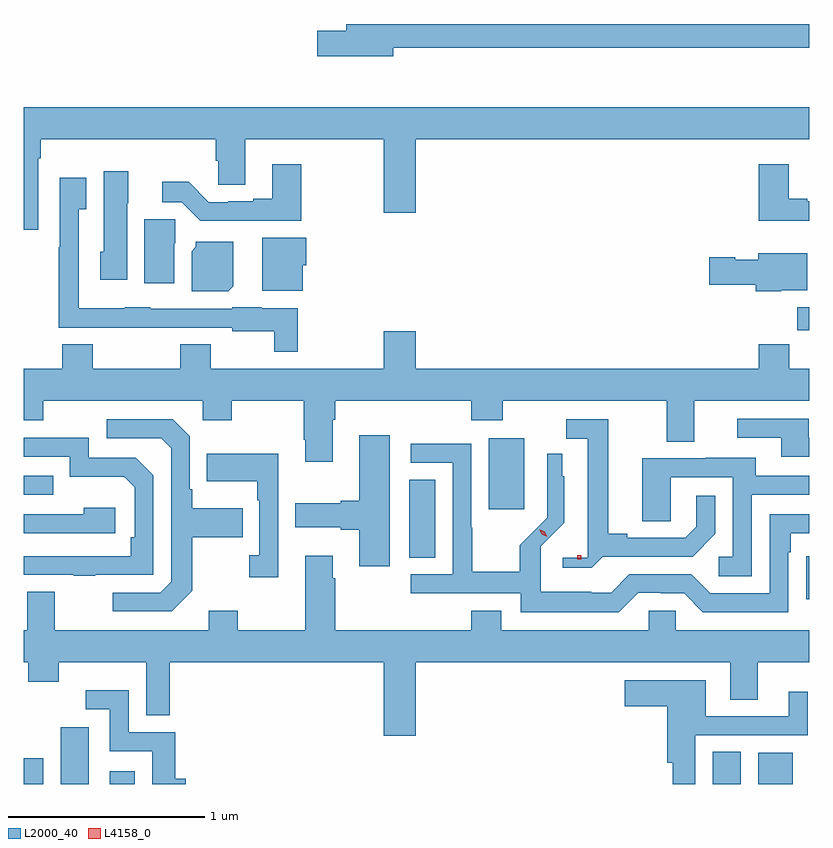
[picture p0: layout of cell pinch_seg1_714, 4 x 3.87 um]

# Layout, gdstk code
import gdstk
lib = gdstk.Library(unit=1e-6, precision=1e-09)
def R(c, l, rs):  # rectangles x0, y0, x1, y1
    for r in rs: c.add(gdstk.rectangle(r[:2], r[2:], *l))
def P(c, l, *ps):  # polygons
    for p in ps: c.add(gdstk.Polygon(p, *l))
L2000_40 = (2000, 40)
L4158_0 = (4158, 0)

pinch_seg1_714 = lib.new_cell('pinch_seg1_714')
R(pinch_seg1_714, L2000_40, [(654.684,540.456,654.784,540.588), (654.872,540.456,655.015,540.745), (655.122,540.456,655.249,540.52), (658.193,540.456,658.336,540.62), (658.424,540.456,658.6,540.616), (658.669,541.398,658.684,541.616), (656.648,541.609,656.779,542.006), (657.053,541.856,657.232,542.218), (654.684,541.929,654.833,542.025), (658.624,542.766,658.684,542.884)])
P(pinch_seg1_714, L2000_40, [(656.566,544.206),(658.684,544.206),(658.684,544.327),(656.327,544.327),(656.327,544.293),(656.178,544.293),(656.178,544.163),(656.566,544.163)],
  [(654.757,543.644),(654.77,543.644),(654.77,543.74),(655.661,543.74),(655.661,543.63),(655.674,543.63),(655.674,543.508),(655.813,543.508),(655.813,543.74),(656.516,543.74),(656.516,543.366),(656.68,543.366),(656.68,543.74),(658.684,543.74),(658.684,543.904),(654.684,543.904),(654.684,543.279),(654.757,543.279)],
  [(656.097,543.613),(655.949,543.613),(655.949,543.436),(655.853,543.436),(655.853,543.423),(655.726,543.423),(655.726,543.42),(655.626,543.42),(655.524,543.523),(655.389,543.523),(655.389,543.42),(655.488,543.42),(655.582,543.326),(656.097,543.326)],
  [(658.684,543.423),(658.675,543.423),(658.675,543.436),(658.579,543.436),(658.579,543.613),(658.427,543.613),(658.427,543.326),(658.684,543.326)],
  [(655.21,543.414),(655.216,543.414),(655.216,543.577),(655.091,543.577),(655.091,543.168),(655.073,543.168),(655.073,543.024),(655.21,543.024)],
  [(656.08,542.878),(655.896,542.878),(655.896,542.884),(655.746,542.884),(655.746,542.877),(655.329,542.877),(655.329,542.884),(655.197,542.884),(655.197,542.878),(654.963,542.878),(654.963,543.383),(655.003,543.383),(655.003,543.544),(654.867,543.544),(654.867,543.191),(654.862,543.191),(654.862,542.781),(655.097,542.781),(655.097,542.78),(655.329,542.78),(655.329,542.781),(655.746,542.781),(655.746,542.762),(655.959,542.762),(655.959,542.657),(656.08,542.657)],
  [(655.45,543.21),(655.454,543.21),(655.454,543.333),(655.298,543.333),(655.298,543.006),(655.45,543.006)],
  [(656.104,543.099),(656.122,543.099),(656.122,543.238),(655.898,543.238),(655.898,542.969),(656.104,542.969)],
  [(655.75,542.992),(655.75,543.217),(655.56,543.217),(655.56,543.192),(655.538,543.17),(655.538,542.966),(655.724,542.966)],
  [(658.542,542.972),(658.675,542.972),(658.675,543.16),(658.424,543.16),(658.424,543.127),(658.308,543.127),(658.308,543.14),(658.176,543.14),(658.176,542.998),(658.412,542.998),(658.412,542.966),(658.542,542.966)],
  [(656.257,542.312),(656.27,542.312),(656.27,542.408),(656.963,542.408),(656.963,542.309),(657.123,542.309),(657.123,542.408),(657.959,542.408),(657.959,542.2),(658.099,542.2),(658.099,542.408),(658.684,542.408),(658.684,542.572),(658.583,542.572),(658.583,542.696),(658.427,542.696),(658.427,542.572),(656.68,542.572),(656.68,542.761),(656.516,542.761),(656.516,542.572),(655.635,542.572),(655.635,542.696),(655.48,542.696),(655.48,542.572),(655.035,542.572),(655.035,542.696),(654.88,542.696),(654.88,542.572),(654.684,542.572),(654.684,542.309),(654.783,542.309),(654.783,542.408),(655.596,542.408),(655.596,542.309),(655.743,542.309),(655.743,542.408),(656.11,542.408),(656.11,542.209),(656.117,542.209),(656.117,542.097),(656.257,542.097)],
  [(658.684,542.22),(658.681,542.22),(658.681,542.316),(658.317,542.316),(658.317,542.22),(658.541,542.22),(658.541,542.124),(658.684,542.124)],
  [(657.633,541.614),(658.09,541.614),(658.206,541.73),(658.206,541.924),(658.109,541.924),(658.109,541.767),(658.052,541.71),(657.757,541.71),(657.757,541.73),(657.661,541.73),(657.661,542.313),(657.447,542.313),(657.447,542.215),(657.557,542.215),(657.557,541.714),(657.555,541.714),(657.555,541.608),(657.429,541.608),(657.429,541.557),(657.576,541.557)],
  [(655.543,541.441),(655.543,541.714),(655.799,541.714),(655.799,541.861),(655.543,541.861),(655.543,541.957),(655.53,541.957),(655.53,542.226),(655.443,542.313),(655.107,542.313),(655.107,542.217),(655.383,542.217),(655.434,542.166),(655.434,541.485),(655.38,541.431),(655.137,541.431),(655.137,541.335),(655.437,541.335)],
  [(656.548,542.233),(656.393,542.233),(656.393,541.898),(656.297,541.898),(656.297,541.885),(656.067,541.885),(656.067,541.763),(656.297,541.763),(656.297,541.751),(656.393,541.751),(656.393,541.566),(656.548,541.566)],
  [(655.049,541.521),(655.344,541.521),(655.344,542.028),(655.254,542.118),(655.014,542.118),(655.014,542.22),(654.684,542.22),(654.684,542.124),(654.918,542.124),(654.918,542.021),(655.195,542.021),(655.248,541.968),(655.248,541.714),(655.228,541.714),(655.228,541.617),(654.684,541.617),(654.684,541.521),(654.937,541.521),(654.937,541.516),(655.049,541.516)],
  [(657.813,541.431),(657.929,541.431),(657.929,541.428),(658.047,541.428),(658.143,541.332),(658.578,541.332),(658.578,541.637),(658.591,541.637),(658.591,541.734),(658.684,541.734),(658.684,541.83),(658.482,541.83),(658.482,541.428),(658.179,541.428),(658.083,541.524),(657.768,541.524),(657.675,541.431),(657.575,541.431),(657.575,541.435),(657.318,541.435),(657.318,541.668),(657.436,541.786),(657.436,542.024),(657.427,542.024),(657.427,542.137),(657.351,542.137),(657.351,541.813),(657.211,541.673),(657.211,541.537),(656.967,541.537),(656.967,541.76),(656.964,541.76),(656.964,542.19),(656.655,542.19),(656.655,542.091),(656.868,542.091),(656.868,541.524),(656.655,541.524),(656.655,541.428),(657.216,541.428),(657.216,541.331),(657.713,541.331)],
  [(655.98,542.137),(655.615,542.137),(655.615,541.997),(655.872,541.997),(655.872,541.901),(655.884,541.901),(655.884,541.622),(655.833,541.622),(655.833,541.509),(655.98,541.509)],
  [(658.392,541.929),(658.684,541.929),(658.684,542.025),(658.411,542.025),(658.411,542.119),(658.157,542.119),(658.157,542.115),(657.833,542.115),(657.833,541.795),(657.978,541.795),(657.978,542.019),(658.296,542.019),(658.296,541.614),(658.224,541.614),(658.224,541.513),(658.392,541.513)],
  [(655.15,541.864),(654.989,541.864),(654.989,541.83),(654.684,541.83),(654.684,541.734),(655.15,541.734)],
  [(655.625,541.339),(655.625,541.24),(654.841,541.24),(654.841,541.435),(654.701,541.435),(654.701,541.24),(654.684,541.24),(654.684,541.076),(654.706,541.076),(654.706,540.977),(654.861,540.977),(654.861,541.076),(655.307,541.076),(655.307,540.805),(655.426,540.805),(655.426,541.076),(656.516,541.076),(656.516,540.702),(656.68,540.702),(656.68,541.076),(658.283,541.076),(658.283,540.886),(658.423,540.886),(658.423,541.076),(658.684,541.076),(658.684,541.24),(658.005,541.24),(658.005,541.338),(657.867,541.338),(657.867,541.24),(657.115,541.24),(657.115,541.339),(656.963,541.339),(656.963,541.24),(656.27,541.24),(656.27,541.505),(656.257,541.505),(656.257,541.618),(656.117,541.618),(656.117,541.24),(655.773,541.24),(655.773,541.339)],
  [(658.104,540.705),(658.678,540.705),(658.678,540.925),(658.58,540.925),(658.58,540.801),(658.156,540.801),(658.156,540.985),(657.744,540.985),(657.744,540.851),(657.962,540.851),(657.962,540.563),(657.988,540.563),(657.988,540.456),(658.104,540.456)],
  [(655.508,540.484),(655.456,540.484),(655.456,540.72),(655.218,540.72),(655.218,540.934),(654.999,540.934),(654.999,540.837),(655.122,540.837),(655.122,540.624),(655.337,540.624),(655.337,540.456),(655.508,540.456)])
R(pinch_seg1_714, L4158_0, [(657.504,541.602,657.524,541.622)])
P(pinch_seg1_714, L4158_0, [(657.35,541.716),(657.323,541.727),(657.308,541.753),(657.308,541.753),(657.308,541.753),(657.336,541.742),(657.351,541.716),(657.351,541.716)])

lib.write_gds('pinch_seg1_714.gds')
